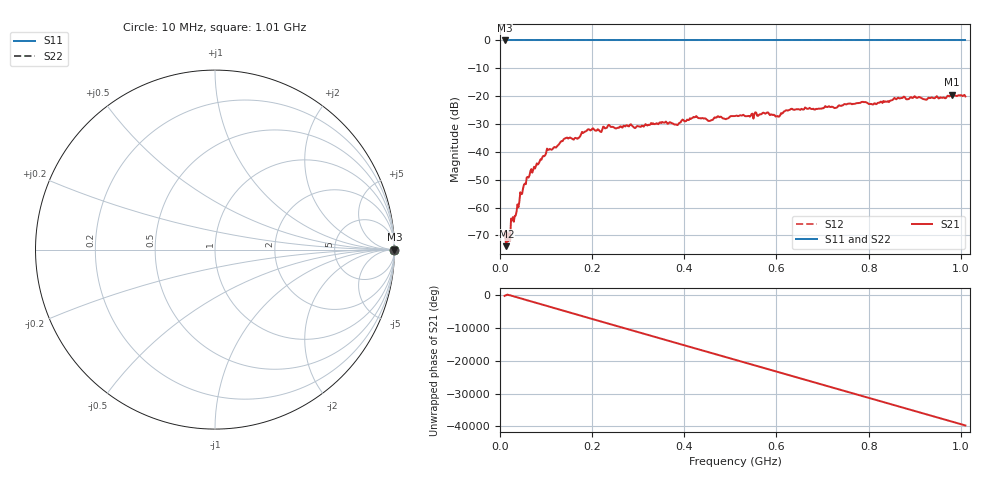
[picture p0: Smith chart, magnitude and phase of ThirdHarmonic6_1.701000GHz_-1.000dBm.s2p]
! 8/16/2025 8:26:55 PM
! C:\ANRITSUVNA\TEMP\TEMP.S2P
! CHANNEL.1
! TR.MEASUREMENT
! RAW.DATA
! RF.CORRECTION.OFF
! AVERAGING.OFF
! IF.BANDWIDTH: 5KHZ
! SWEEPTYPE:  FREQ.SWEEP(Linear)
! Reference Plane Port Info
! PORT:  PORT1  PORT2
! DISTANCE:  0  m  0  m
! TIME:  0  s  0  s
! PHASE.OFFSET:  0  deg.  0  deg.
! LOSS:  0  dB  0  dB
! REF.LOSS:  0  dB  0  dB
! REF.FREQ:  0  Hz  0  Hz
! Power Info
! POWER:  -20  dBm  -20  dBm
! EFF.POWER:  -20  dBm  -20  dBm
! SOURCE.ATTEN:  0  dB  0  dB
! TEST.ATTEN:  0  dB  0  dB
# GHZ S RI R 50.0
! FREQ.GHZ  S11RE  S11IM  S21RE  S21IM  S12RE  S12IM  S22RE  S22IM
!; PortSelection: Port_12
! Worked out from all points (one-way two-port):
!   501 points, 10 MHz to 1.01 GHz, reference 50 ohm
!   highest |S21| = -19.40 dB at 980 MHz (marker M1); lowest = -73.8 dB at 14 MHz (marker M2)
!   lowest |S11| = 0.0 dB at 10 MHz (marker M3)
!   |S11| at or under -10 dB: nowhere
!   |S22| runs from 0.0 to 0.0 dB; largest |S21 - S12| = 1.1
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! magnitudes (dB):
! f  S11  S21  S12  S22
! 10 MHz  0.0  -68.7  0.0  0.0
! 14 MHz  0.0  -73.8  0.0  0.0
! 18 MHz  0.0  -72.0  0.0  0.0
! 28 MHz  0.0  -63.4  0.0  0.0
! 34 MHz  0.0  -62.8  0.0  0.0
! 48 MHz  0.0  -55.1  0.0  0.0
! 70 MHz  0.0  -47.4  0.0  0.0
! 106 MHz  0.0  -39.3  0.0  0.0
! 178 MHz  0.0  -32.8  0.0  0.0
! 238 MHz  0.0  -30.5  0.0  0.0
! 344 MHz  0.0  -30.1  0.0  0.0
! 382 MHz  0.0  -30.1  0.0  0.0
! 424 MHz  0.0  -27.5  0.0  0.0
! 456 MHz  0.0  -28.8  0.0  0.0
! 510 MHz  0.0  -27.1  0.0  0.0
! 578 MHz  0.0  -26.1  0.0  0.0
! 602 MHz  0.0  -27.1  0.0  0.0
! 630 MHz  0.0  -24.8  0.0  0.0
! 678 MHz  0.0  -24.6  0.0  0.0
! 844 MHz  0.0  -22.1  0.0  0.0
! 980 MHz  0.0  -19.4  0.0  0.0
! 1.01 GHz  0.0  -20.1  0.0  0.0
